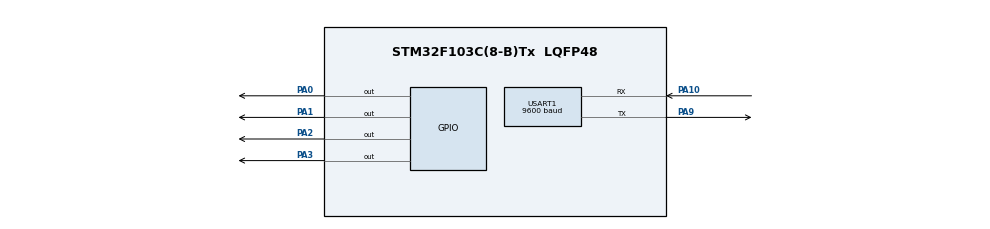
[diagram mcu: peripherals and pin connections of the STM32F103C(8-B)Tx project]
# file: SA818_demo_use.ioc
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Mcu.Family=STM32F1
Mcu.Name=STM32F103C(8-B)Tx
Mcu.Package=LQFP48
NVIC.PriorityGroup=NVIC_PRIORITYGROUP_4
PA0-WKUP.Signal=GPIO_Output
PA1.Signal=GPIO_Output
PA10.Mode=Asynchronous
PA10.Signal=USART1_RX
PA13.Mode=Serial_Wire
PA13.Signal=SYS_JTMS-SWDIO
PA14.Mode=Serial_Wire
PA14.Signal=SYS_JTCK-SWCLK
PA2.Signal=GPIO_Output
PA3.Signal=GPIO_Output
PA9.Mode=Asynchronous
PA9.Signal=USART1_TX
PD0-OSC_IN.Mode=HSE-External-Oscillator
PD0-OSC_IN.Signal=RCC_OSC_IN
PD1-OSC_OUT.Mode=HSE-External-Oscillator
PD1-OSC_OUT.Signal=RCC_OSC_OUT
ProjectManager.HeapSize=0x200
ProjectManager.StackSize=0x400
ProjectManager.TargetToolchain=Makefile
RCC.APB1Freq_Value=8000000
RCC.APB2Freq_Value=8000000
RCC.SYSCLKSource=RCC_SYSCLKSOURCE_HSE
USART1.BaudRate=9600
USART1.VirtualMode=VM_ASYNC
board=custom

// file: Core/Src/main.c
/* USER CODE BEGIN Header */
/**
  ******************************************************************************
  * @file           : main.c
  * @brief          : Main program body
  ******************************************************************************
  * @attention
  *
  * Copyright (c) 2025 STMicroelectronics.
  * All rights reserved.
  *
  * This software is licensed under terms that can be found in the LICENSE file
  * in the root directory of this software component.
  * If no LICENSE file comes with this software, it is provided AS-IS.
  *
  ******************************************************************************
  */
/* USER CODE END Header */
#include "main.h"
#include "usart.h"
#include "gpio.h"

/* USER CODE BEGIN Includes */

#include <stdio.h>
#include "SA818.h"
#define DEBUG 1
int _write(int file, char *data, int len)
{
  HAL_UART_Transmit(&huart1, (uint8_t *)data, len, HAL_MAX_DELAY);
  return len;
}

/* USER CODE END Includes */

/* USER CODE BEGIN PTD */
SA818 sa818 = {
    .huart = &huart1,

    .PTT_GPIO_Port = GPIOA,
    .PTT_Pin = GPIO_PIN_0,

    .PD_GPIO_Port = GPIOA,
    .PD_Pin = GPIO_PIN_1,

    .HL_GPIO_Port = GPIOA,
    .HL_Pin = GPIO_PIN_2,

    .AMP_GPIO_Port = GPIOA,
    .AMP_Pin = GPIO_PIN_3,

    .has_amp = 1
};

/* USER CODE END PTD */

void SystemClock_Config(void);

int main(void)
{

  /* MCU Configuration--------------------------------------------------------*/

  /* Reset of all peripherals, Initializes the Flash interface and the Systick. */
  HAL_Init();

  /* Configure the system clock */
  SystemClock_Config();

  /* Initialize all configured peripherals */
  MX_GPIO_Init();
  MX_USART1_UART_Init();
  /* USER CODE BEGIN 2 */

  SA818_Init(&sa818);
  HAL_Delay(1000);
  if(SA818_Begin(&sa818))
  {

    printf("SA818 found..\n");
    HAL_Delay(1000);
    SA818_SetPower(&sa818,1);
    HAL_Delay(1000);

    SA818_SetConfig(&sa818, 1, "430.0000", "430.0000", "0000", "0000", 2);
    HAL_Delay(1000);

    HAL_Delay(1000);
    SA818_SetVolume(&sa818,8);
    HAL_Delay(1000);

    SA818_SetFilters(&sa818,0,0,0);
    HAL_Delay(1000);

    // SA818_SetModeRX(&sa818);
    SA818_SetModeTX(&sa818);

  }
  else{
    printf("connection error..\n");

  }

  /* USER CODE END 2 */

  /* Infinite loop */
  while (1)
  {

  }
}

void SystemClock_Config(void)
{
  RCC_OscInitTypeDef RCC_OscInitStruct = {0};
  RCC_ClkInitTypeDef RCC_ClkInitStruct = {0};

  /** Initializes the RCC Oscillators according to the specified parameters
  * in the RCC_OscInitTypeDef structure.
  */
  RCC_OscInitStruct.OscillatorType = RCC_OSCILLATORTYPE_HSE;
  RCC_OscInitStruct.HSEState = RCC_HSE_ON;
  RCC_OscInitStruct.PLL.PLLState = RCC_PLL_NONE;
  if (HAL_RCC_OscConfig(&RCC_OscInitStruct) != HAL_OK)
  {
    Error_Handler();
  }

  /** Initializes the CPU, AHB and APB buses clocks
  */
  RCC_ClkInitStruct.ClockType = RCC_CLOCKTYPE_HCLK|RCC_CLOCKTYPE_SYSCLK
                              |RCC_CLOCKTYPE_PCLK1|RCC_CLOCKTYPE_PCLK2;
  RCC_ClkInitStruct.SYSCLKSource = RCC_SYSCLKSOURCE_HSE;
  RCC_ClkInitStruct.AHBCLKDivider = RCC_SYSCLK_DIV1;
  RCC_ClkInitStruct.APB1CLKDivider = RCC_HCLK_DIV1;
  RCC_ClkInitStruct.APB2CLKDivider = RCC_HCLK_DIV1;

  if (HAL_RCC_ClockConfig(&RCC_ClkInitStruct, FLASH_LATENCY_0) != HAL_OK)
  {
    Error_Handler();
  }
}

void Error_Handler(void)
{
  __disable_irq();
  while (1)
  {
  }
}
